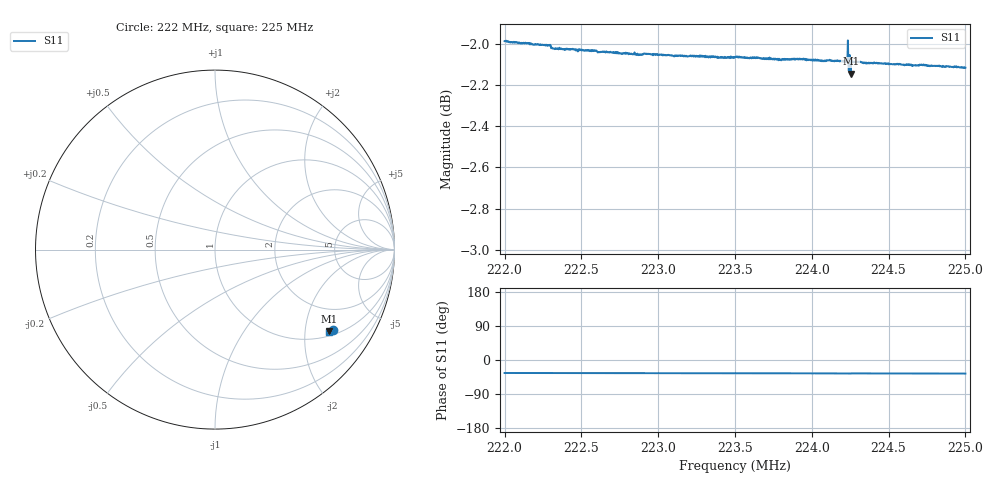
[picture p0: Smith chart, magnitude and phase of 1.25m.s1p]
! Calibrated averaged scanner-service zoom
# Hz S RI R 50
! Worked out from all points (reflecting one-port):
!   1001 points, 222 MHz to 225 MHz, reference 50 ohm
!   lowest |S11| = -2.1 dB at 224.25 MHz (marker M1), VSWR 8.14, Z = 57.3 - j134 ohm
!   phase of S11 starts at -34 deg and turns -1 deg over the sweep
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2.22e8  0.6571 -0.4485
2.22285e8  0.6548 -0.4487
2.22318e8  0.6534 -0.4482
2.22375e8  0.6528 -0.4485
2.22582e8  0.6518 -0.4492
2.22618e8  0.6507 -0.4493
2.2275e8  0.65 -0.4494
2.2287e8  0.6486 -0.45
2.22918e8  0.6491 -0.4504
2.23125e8  0.6478 -0.4508
2.23272e8  0.6474 -0.4515
2.23404e8  0.6458 -0.4518
2.235e8  0.6457 -0.4522
2.2377e8  0.6437 -0.4536
2.23875e8  0.6438 -0.4536
2.24064e8  0.6425 -0.454
2.24118e8  0.6423 -0.4551
2.24214e8  0.6416 -0.4553
2.24223e8  0.6412 -0.4552
2.24229e8  0.6415 -0.4552
2.24235e8  0.649 -0.4607
2.24238e8  0.6413 -0.4553
2.2425e8  0.6412 -0.4554
2.24253e8  0.6352 -0.4548
2.24268e8  0.6411 -0.4556
2.2428e8  0.641 -0.4555
2.24625e8  0.6386 -0.4566
2.25e8  0.636 -0.4583
